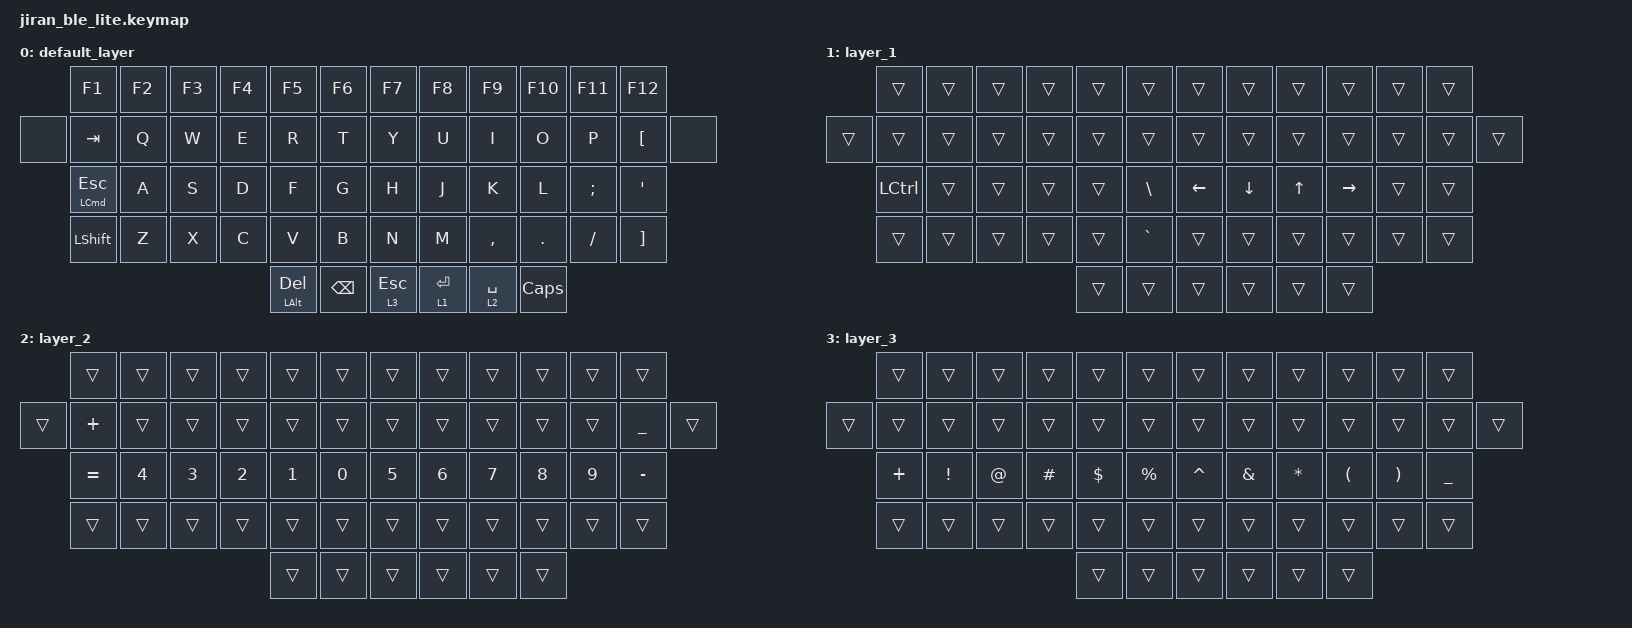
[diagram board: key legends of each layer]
/*
 * Copyright (c) 2021 The ZMK Contributors
 *
 * SPDX-License-Identifier: MIT
 */

#include <behaviors.dtsi>
#include <dt-bindings/zmk/keys.h>

/ {
    keymap {
        compatible = "zmk,keymap";

        default_layer {
            bindings = <
       &kp F1                   &kp F2  &kp F3  &kp F4  &kp F5               &kp F6         &kp F7     &kp F8       &kp F9       &kp F10   &kp F11   &kp F12
&none  &kp TAB                  &kp Q   &kp W   &kp E   &kp R                &kp T          &kp Y      &kp U        &kp I        &kp O     &kp P     &kp LBKT           &none
       &mt LEFT_COMMAND ESCAPE  &kp A   &kp S   &kp D   &kp F                &kp G          &kp H      &kp J        &kp K        &kp L     &kp SEMI  &kp SQT
       &kp LEFT_SHIFT           &kp Z   &kp X   &kp C   &kp V                &kp B          &kp N      &kp M        &kp COMMA    &kp DOT   &kp FSLH  &kp RIGHT_BRACKET
                                                        &mt LEFT_ALT DELETE  &kp BACKSPACE  &lt 3 ESC  &lt 1 ENTER  &lt 2 SPACE  &kp CAPS
            >;
        };

        layer_1 {
            bindings = <
        &trans            &trans  &trans  &trans  &trans  &trans         &trans    &trans    &trans  &trans     &trans  &trans
&trans  &trans            &trans  &trans  &trans  &trans  &trans         &trans    &trans    &trans  &trans     &trans  &trans  &trans
        &kp LEFT_CONTROL  &trans  &trans  &trans  &trans  &kp BACKSLASH  &kp LEFT  &kp DOWN  &kp UP  &kp RIGHT  &trans  &trans
        &trans            &trans  &trans  &trans  &trans  &kp GRAVE      &trans    &trans    &trans  &trans     &trans  &trans
                                                  &trans  &trans         &trans    &trans    &trans  &trans
            >;
        };

        layer_2 {
            bindings = <
        &trans     &trans  &trans  &trans  &trans  &trans  &trans  &trans  &trans  &trans  &trans  &trans
&trans  &kp PLUS   &trans  &trans  &trans  &trans  &trans  &trans  &trans  &trans  &trans  &trans  &kp UNDERSCORE  &trans
        &kp EQUAL  &kp N4  &kp N3  &kp N2  &kp N1  &kp N0  &kp N5  &kp N6  &kp N7  &kp N8  &kp N9  &kp MINUS
        &trans     &trans  &trans  &trans  &trans  &trans  &trans  &trans  &trans  &trans  &trans  &trans
                                           &trans  &trans  &trans  &trans  &trans  &trans
            >;
        };

        layer_3 {
            bindings = <
        &trans    &trans           &trans       &trans    &trans      &trans       &trans     &trans         &trans        &trans                &trans                 &trans
&trans  &trans    &trans           &trans       &trans    &trans      &trans       &trans     &trans         &trans        &trans                &trans                 &trans          &trans
        &kp PLUS  &kp EXCLAMATION  &kp AT_SIGN  &kp HASH  &kp DOLLAR  &kp PERCENT  &kp CARET  &kp AMPERSAND  &kp ASTERISK  &kp LEFT_PARENTHESIS  &kp RIGHT_PARENTHESIS  &kp UNDERSCORE
        &trans    &trans           &trans       &trans    &trans      &trans       &trans     &trans         &trans        &trans                &trans                 &trans
                                                          &trans      &trans       &trans     &trans         &trans        &trans
            >;
        };
    };
};
